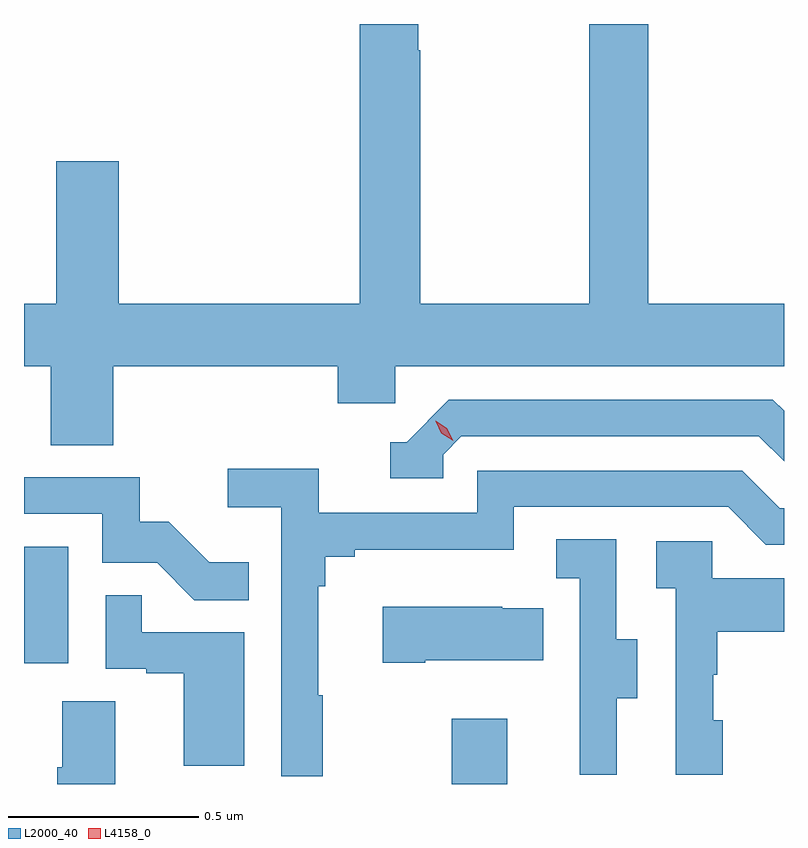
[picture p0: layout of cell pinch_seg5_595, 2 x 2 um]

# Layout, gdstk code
import gdstk
lib = gdstk.Library(unit=1e-6, precision=1e-09)
def R(c, l, rs):  # rectangles x0, y0, x1, y1
    for r in rs: c.add(gdstk.rectangle(r[:2], r[2:], *l))
def P(c, l, *ps):  # polygons
    for p in ps: c.add(gdstk.Polygon(p, *l))
L2000_40 = (2000, 40)
L4158_0 = (4158, 0)

pinch_seg5_595 = lib.new_cell('pinch_seg5_595')
R(pinch_seg5_595, L2000_40, [(1143.07,859.656,1143.217,859.828), (1141.945,859.974,1142.062,860.281)])
P(pinch_seg5_595, L2000_40, [(1142.18,860.756),(1142.771,860.756),(1142.771,860.658),(1142.922,860.658),(1142.922,860.756),(1143.945,860.756),(1143.945,860.92),(1143.588,860.92),(1143.588,861.656),(1143.433,861.656),(1143.433,860.92),(1142.988,860.92),(1142.988,861.587),(1142.983,861.587),(1142.983,861.656),(1142.828,861.656),(1142.828,860.92),(1142.194,860.92),(1142.194,861.295),(1142.03,861.295),(1142.03,860.92),(1141.945,860.92),(1141.945,860.756),(1142.015,860.756),(1142.015,860.548),(1142.18,860.548)],
  [(1143.048,860.523),(1143.096,860.571),(1143.879,860.571),(1143.945,860.505),(1143.945,860.638),(1143.916,860.667),(1143.063,860.667),(1142.952,860.556),(1142.909,860.556),(1142.909,860.46),(1143.048,860.46)],
  [(1142.731,859.889),(1142.719,859.889),(1142.719,860.177),(1142.738,860.177),(1142.738,860.254),(1142.815,860.254),(1142.815,860.273),(1143.234,860.273),(1143.234,860.385),(1143.798,860.385),(1143.897,860.286),(1143.945,860.286),(1143.945,860.382),(1143.934,860.382),(1143.835,860.481),(1143.138,860.481),(1143.138,860.37),(1142.72,860.37),(1142.72,860.486),(1142.481,860.486),(1142.481,860.384),(1142.622,860.384),(1142.622,859.677),(1142.731,859.677)],
  [(1142.537,860.239),(1142.433,860.239),(1142.326,860.346),(1142.25,860.346),(1142.25,860.463),(1141.945,860.463),(1141.945,860.367),(1142.151,860.367),(1142.151,860.238),(1142.295,860.238),(1142.393,860.14),(1142.537,860.14)],
  [(1143.505,859.882),(1143.559,859.882),(1143.559,860.037),(1143.504,860.037),(1143.504,860.3),(1143.345,860.3),(1143.345,860.197),(1143.408,860.197),(1143.408,859.893),(1143.407,859.893),(1143.407,859.68),(1143.505,859.68)],
  [(1143.784,859.824),(1143.759,859.824),(1143.759,859.943),(1143.769,859.943),(1143.769,860.057),(1143.945,860.057),(1143.945,860.197),(1143.756,860.197),(1143.756,860.295),(1143.609,860.295),(1143.609,860.171),(1143.66,860.171),(1143.66,859.68),(1143.784,859.68)],
  [(1142.524,860.055),(1142.255,860.055),(1142.255,860.153),(1142.16,860.153),(1142.16,859.959),(1142.267,859.959),(1142.267,859.947),(1142.366,859.947),(1142.366,859.704),(1142.524,859.704)],
  [(1143.001,859.982),(1143.311,859.982),(1143.311,860.119),(1143.203,860.119),(1143.203,860.122),(1142.889,860.122),(1142.889,859.975),(1143.001,859.975)],
  [(1142.185,859.874),(1142.045,859.874),(1142.045,859.7),(1142.033,859.7),(1142.033,859.656),(1142.185,859.656)])
P(pinch_seg5_595, L4158_0, [(1143.074,860.559),(1143.043,860.579),(1143.028,860.611),(1143.028,860.612),(1143.028,860.612),(1143.058,860.592),(1143.074,860.559),(1143.074,860.559)])

lib.write_gds('pinch_seg5_595.gds')
